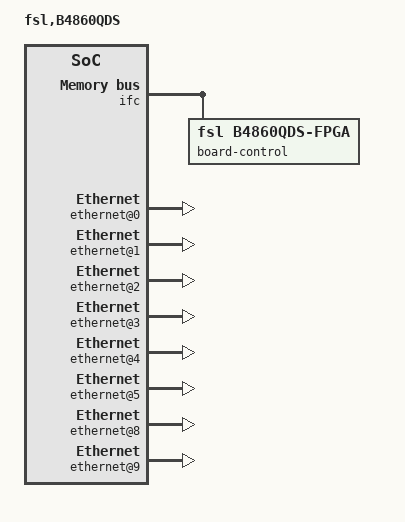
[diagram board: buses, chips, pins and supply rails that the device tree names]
/*
 * B4860DS Device Tree Source
 *
 * Copyright 2012 Freescale Semiconductor Inc.
 *
 * Redistribution and use in source and binary forms, with or without
 * modification, are permitted provided that the following conditions are met:
 *     * Redistributions of source code must retain the above copyright
 *       notice, this list of conditions and the following disclaimer.
 *     * Redistributions in binary form must reproduce the above copyright
 *       notice, this list of conditions and the following disclaimer in the
 *       documentation and/or other materials provided with the distribution.
 *     * Neither the name of Freescale Semiconductor nor the
 *       names of its contributors may be used to endorse or promote products
 *       derived from this software without specific prior written permission.
 *
 *
 * ALTERNATIVELY, this software may be distributed under the terms of the
 * GNU General Public License ("GPL") as published by the Free Software
 * Foundation, either version 2 of that License or (at your option) any
 * later version.
 *
 * THIS SOFTWARE IS PROVIDED BY Freescale Semiconductor ``AS IS'' AND ANY
 * EXPRESS OR IMPLIED WARRANTIES, INCLUDING, BUT NOT LIMITED TO, THE IMPLIED
 * WARRANTIES OF MERCHANTABILITY AND FITNESS FOR A PARTICULAR PURPOSE ARE
 * DISCLAIMED. IN NO EVENT SHALL Freescale Semiconductor BE LIABLE FOR ANY
 * DIRECT, INDIRECT, INCIDENTAL, SPECIAL, EXEMPLARY, OR CONSEQUENTIAL DAMAGES
 * (INCLUDING, BUT NOT LIMITED TO, PROCUREMENT OF SUBSTITUTE GOODS OR SERVICES;
 * LOSS OF USE, DATA, OR PROFITS; OR BUSINESS INTERRUPTION) HOWEVER CAUSED AND
 * ON ANY THEORY OF LIABILITY, WHETHER IN CONTRACT, STRICT LIABILITY, OR TORT
 * (INCLUDING NEGLIGENCE OR OTHERWISE) ARISING IN ANY WAY OUT OF THE USE OF THIS
 * SOFTWARE, EVEN IF ADVISED OF THE POSSIBILITY OF SUCH DAMAGE.
 */

/include/ "b4860si-pre.dtsi"
/include/ "b4qds.dtsi"

/ {
	model = "fsl,B4860QDS";
	compatible = "fsl,B4860QDS";

	aliases{
		phy_sgmii_1e = &phy_sgmii_1e;
		phy_sgmii_1f = &phy_sgmii_1f;
		phy_xaui_slot1 = &phy_xaui_slot1;
		phy_xaui_slot2 = &phy_xaui_slot2;
	};
	ifc: localbus@ffe124000 {
		board-control@3,0 {
			compatible = "fsl,b4860qds-fpga", "fsl,fpga-qixis";
		};
	};
	soc: soc@ffe000000 {
		fman0: fman@400000 {
			fm1mac5: ethernet@e8000 {
				phy-handle = <&phy_sgmii_1e>;
				phy-connection-type = "sgmii";
			};
			fm1mac6: ethernet@ea000 {
				phy-handle = <&phy_sgmii_1f>;
				phy-connection-type = "sgmii";
			};
			fm1mac9: ethernet@f0000 { /* FM1@TGEC2 */
				phy-handle = <&phy_xaui_slot1>;
				phy-connection-type = "xgmii";
			};
			fm1mac10: ethernet@f2000 { /* FM1@TGEC1 */
				phy-handle = <&phy_xaui_slot2>;
				phy-connection-type = "xgmii";
			};
			mdio0: mdio@fc000 {
				phy_sgmii_1e: ethernet-phy@1e {
					status = "disabled";
					reg = <0x1e>;
				};
				phy_sgmii_1f: ethernet-phy@1f {
					status = "disabled";
					reg = <0x1f>;
				};
			};
			xmdio0: mdio@fd000 {
				/* For 10g interfaces */
				phy_xaui_slot1: xaui-phy@slot1 {
					status = "disabled";
					compatible = "ethernet-phy-ieee802.3-c45";
					reg = <0x7>; /* default switch setting on slot1 of AMC2PEX */
				};
				phy_xaui_slot2: xaui-phy@slot2 {
					status = "disabled";
					compatible = "ethernet-phy-ieee802.3-c45";
					reg = <0x6>; /* default switch setting on slot1 of AMC2PEX */
				};
			};
		};
	};

	rio: rapidio@ffe0c0000 {
		reg = <0xf 0xfe0c0000 0 0x11000>;

		port1 {
			ranges = <0 0 0xc 0x20000000 0 0x10000000>;
		};
		port2 {
			ranges = <0 0 0xc 0x30000000 0 0x10000000>;
		};
	};
	fsl,dpaa {
		compatible = "fsl,b4860-dpaa", "fsl,dpaa";
		ethernet@0 {
			compatible = "fsl,b4860-dpa-ethernet", "fsl,dpa-ethernet";
		};
		ethernet@1 {
			compatible = "fsl,b4860-dpa-ethernet", "fsl,dpa-ethernet";
		};
		ethernet@2 {
			compatible = "fsl,b4860-dpa-ethernet", "fsl,dpa-ethernet";
		};
		ethernet@3 {
			compatible = "fsl,b4860-dpa-ethernet", "fsl,dpa-ethernet";
		};
		ethernet@4 {
			compatible = "fsl,b4860-dpa-ethernet", "fsl,dpa-ethernet";
			fsl,fman-mac = <&fm1mac5>;
		};
		ethernet@5 {
			compatible = "fsl,b4860-dpa-ethernet", "fsl,dpa-ethernet";
			fsl,fman-mac = <&fm1mac6>;
		};
		ethernet@8 {
			compatible = "fsl,b4860-dpa-ethernet", "fsl,dpa-ethernet";
			fsl,fman-mac = <&fm1mac9>;
		};
		ethernet@9 {
			compatible = "fsl,b4860-dpa-ethernet", "fsl,dpa-ethernet";
			fsl,fman-mac = <&fm1mac10>;
		};
	};
};

/include/ "b4860si-post.dtsi"
